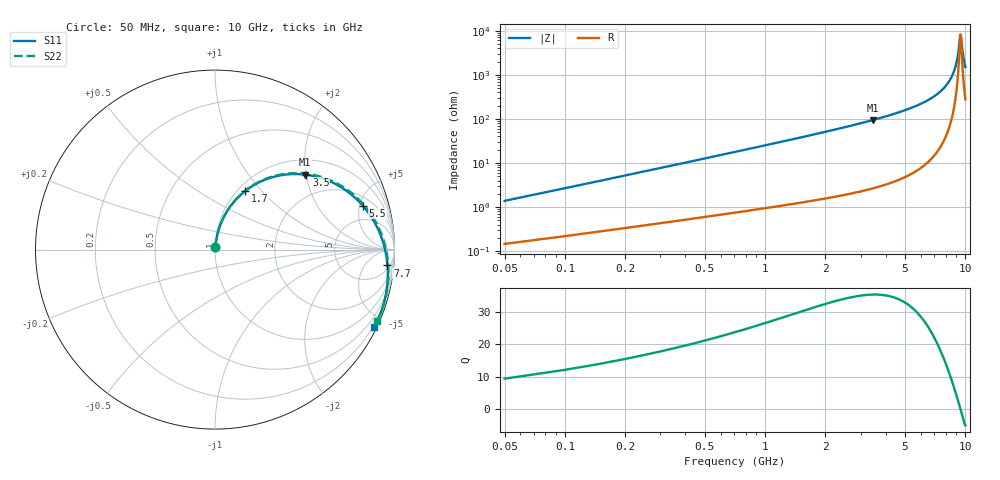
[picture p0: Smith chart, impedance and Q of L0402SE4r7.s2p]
!	AVX Thin Film Operation
!	Date:		5 January 2004
!	Description: 	Accu-L®  L0402 Series Thin Film RF Inductors
!	Part Number:	L04024R7AHNTR
!	50 MHz-20GHz Serial Measurements
#	mhz	S	db	R	50
!	S11	S11	S21	S21	S12	S12	S22	S22
!	dB	Phase	dB	Phase	dB	Phase	dB	Phase
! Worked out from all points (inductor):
!   200 points, 50 MHz to 10 GHz, reference 50 ohm
!   read as one part in series: L = 4.19 nH near 100 MHz
!   highest Q = 35.3 at 3.45 GHz (marker M1), where L = 4.34 nH
!   self-resonance near 9.45 GHz
!   S11 on the Smith chart (normalised r, x): 50 MHz: 1.00, +0.03; 1.7 GHz: 1.08, +0.82; 3.5 GHz: 1.37, +2.01; 5.5 GHz: 2.87, +5.37; 7.7 GHz: 7, -19; 10 GHz: 0.13, -4.32
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50  -37.74 82.7  -0.01 -0.8  -0.01 -0.8  -37.74 82.7
100  -32.07 83.3  -0.02 -1.6  -0.02 -1.6  -32.07 83.3
200  -26.33 82.8  -0.04 -3.2  -0.04 -3.2  -26.33 82.9
450  -19.57 79.9  -0.10 -7.0  -0.10 -7.0  -19.57 80.0
950  -13.38 73.1  -0.28 -14.4  -0.28 -14.4  -13.38 73.3
1700  -8.72 62.7  -0.74 -25.1  -0.74 -25.1  -8.72 63.1
1750  -8.50 62.0  -0.78 -25.8  -0.78 -25.8  -8.50 62.4
3400  -3.81 40.5  -2.56 -47.4  -2.56 -47.4  -3.81 41.2
3450  -3.72 39.9  -2.63 -48.0  -2.63 -48.0  -3.72 40.6
3500  -3.63 39.3  -2.70 -48.6  -2.70 -48.6  -3.63 40.0
5050  -1.68 21.4  -5.34 -66.2  -5.34 -66.2  -1.68 22.5
5500  -1.32 16.6  -6.32 -70.9  -6.32 -70.9  -1.32 17.8
6700  -0.64 4.3  -9.59 -82.4  -9.59 -82.4  -0.64 5.8
7700  -0.31 -5.3  -13.62 -90.8  -13.62 -90.8  -0.31 -3.5
8350  -0.18 -11.3  -17.70 -94.9  -17.70 -94.9  -0.18 -9.4
8700  -0.14 -14.5  -21.01 -95.7  -21.01 -95.7  -0.14 -12.5
9000  -0.12 -17.2  -25.30 -93.5  -25.30 -93.5  -0.12 -15.1
9200  -0.11 -19.0  -29.90 -86.3  -29.90 -86.3  -0.11 -16.8
9450  -0.10 -21.2  -38.64 -24.4  -38.64 -24.4  -0.10 -19.0
9500  -0.10 -21.6  -37.98 2.2  -37.98 2.2  -0.10 -19.4
9750  -0.11 -23.8  -29.02 48.3  -29.02 48.3  -0.11 -21.6
10000  -0.12 -26.0  -24.04 54.7  -24.04 54.7  -0.12 -23.7
